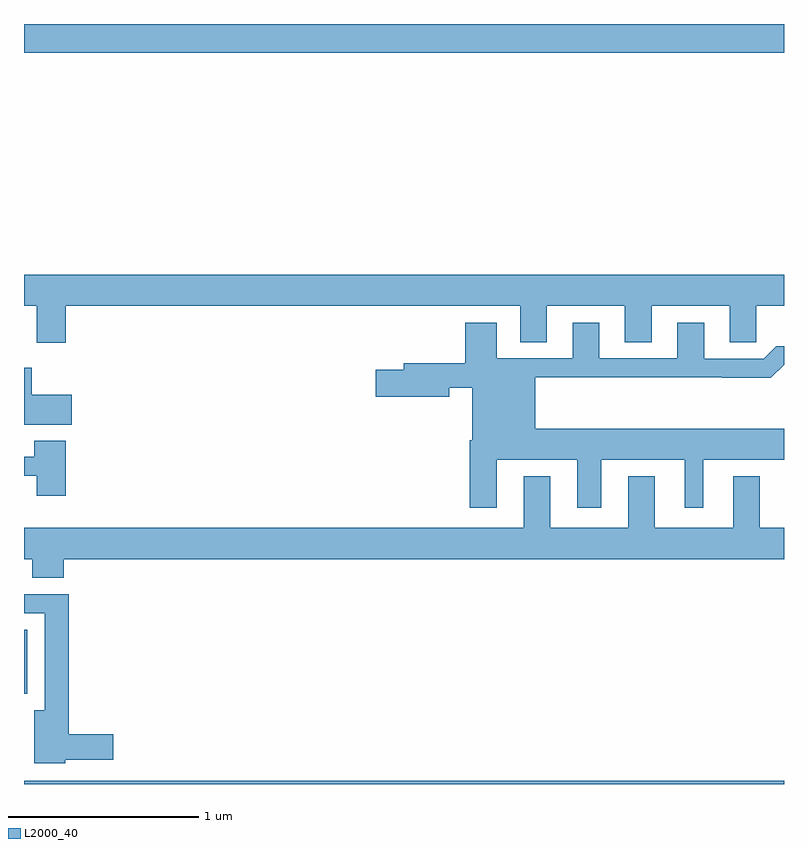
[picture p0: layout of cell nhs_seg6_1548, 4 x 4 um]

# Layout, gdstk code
import gdstk
lib = gdstk.Library(unit=1e-6, precision=1e-09)
def R(c, l, rs):  # rectangles x0, y0, x1, y1
    for r in rs: c.add(gdstk.rectangle(r[:2], r[2:], *l))
def P(c, l, *ps):  # polygons
    for p in ps: c.add(gdstk.Polygon(p, *l))
L2000_40 = (2000, 40)

nhs_seg6_1548 = lib.new_cell('nhs_seg6_1548')
R(nhs_seg6_1548, L2000_40, [(205,931.5,209,931.516), (205,931.976,205.018,932.311), (205,935.348,209,935.5)])
P(nhs_seg6_1548, L2000_40, [(205,934.016),(205.067,934.016),(205.067,933.822),(205.22,933.822),(205.22,934.016),(207.611,934.016),(207.611,933.826),(207.751,933.826),(207.751,934.016),(208.163,934.016),(208.163,933.826),(208.303,933.826),(208.303,934.016),(208.715,934.016),(208.715,933.826),(208.854,933.826),(208.854,934.016),(209,934.016),(209,934.18),(205,934.18)],
  [(207.487,933.206),(207.911,933.206),(207.911,932.955),(208.039,932.955),(208.039,933.206),(208.478,933.206),(208.478,932.955),(208.576,932.955),(208.576,933.206),(209,933.206),(209,933.37),(207.691,933.37),(207.691,933.64),(208.675,933.64),(208.675,933.638),(208.931,933.638),(209,933.707),(209,933.805),(208.96,933.805),(208.893,933.738),(208.579,933.738),(208.579,933.928),(208.439,933.928),(208.439,933.741),(208.027,933.741),(208.027,933.928),(207.887,933.928),(207.887,933.741),(207.487,933.741),(207.487,933.928),(207.323,933.928),(207.323,933.715),(206.999,933.715),(206.999,933.681),(206.85,933.681),(206.85,933.539),(207.238,933.539),(207.238,933.586),(207.359,933.586),(207.359,933.31),(207.347,933.31),(207.347,932.955),(207.487,932.955)],
  [(205.252,933.55),(205.042,933.55),(205.042,933.691),(205,933.691),(205,933.392),(205.252,933.392)],
  [(205.22,933.307),(205.055,933.307),(205.055,933.223),(205,933.223),(205,933.123),(205.067,933.123),(205.067,933.018),(205.22,933.018)],
  [(205.208,932.684),(209,932.684),(209,932.848),(208.873,932.848),(208.873,933.121),(208.733,933.121),(208.733,932.848),(208.321,932.848),(208.321,933.121),(208.181,933.121),(208.181,932.848),(207.769,932.848),(207.769,933.121),(207.629,933.121),(207.629,932.848),(205,932.848),(205,932.684),(205.043,932.684),(205.043,932.585),(205.208,932.585)],
  [(205.218,931.628),(205.471,931.628),(205.471,931.763),(205.235,931.763),(205.235,932.498),(205,932.498),(205,932.4),(205.109,932.4),(205.109,931.888),(205.055,931.888),(205.055,931.61),(205.218,931.61)])

lib.write_gds('nhs_seg6_1548.gds')
